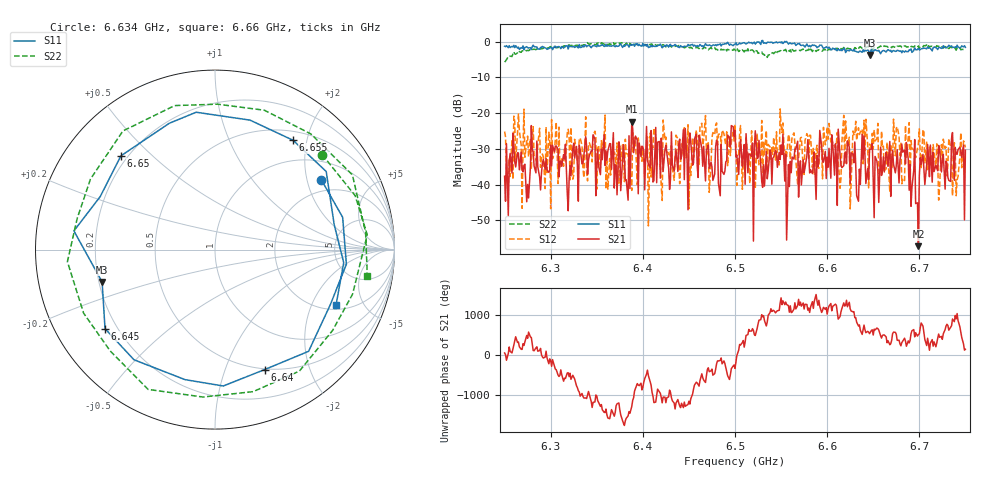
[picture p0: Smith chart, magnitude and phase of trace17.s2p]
# Hz S RI R 50
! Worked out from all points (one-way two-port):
!   401 points, 6.25 GHz to 6.75 GHz, reference 50 ohm
!   highest |S21| = -22.43 dB at 6.388 GHz (marker M1); lowest = -57.2 dB at 6.699 GHz (marker M2)
!   lowest |S11| = -3.7 dB at 6.646 GHz (marker M3), VSWR 4.79, Z = 10.6 - j6.72 ohm
!   |S11| at or under -10 dB: nowhere
!   |S22| runs from -5.7 to -0.1 dB; largest |S21 - S12| = 0.11
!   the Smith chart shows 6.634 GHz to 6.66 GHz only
!   S11 on the Smith chart (normalised r, x): 6.634 GHz: 1.56, +2.45; 6.64 GHz: 0.49, -1.38; 6.645 GHz: 0.15, -0.32; 6.65 GHz: 0.17, +0.40; 6.655 GHz: 0.64, +1.77; 6.66 GHz: 2.25, -3.07
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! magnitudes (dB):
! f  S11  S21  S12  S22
! 6.25 GHz  -1.2  -37.7  -25.1  -5.7
! 6.334 GHz  -1.5  -34.2  -29.1  -1.2
! 6.384 GHz  -1.0  -44.4  -31.5  -0.7
! 6.388 GHz  -1.0  -22.4  -41.6  -0.9
! 6.418 GHz  -1.0  -27.9  -34.1  -0.9
! 6.485 GHz  -1.2  -28.8  -28.8  -2.1
! 6.5 GHz  -0.7  -24.8  -23.2  -2.3
! 6.584 GHz  -0.9  -36.9  -35.2  -2.8
! 6.621 GHz  -2.6  -34.1  -26.8  -2.1
! 6.634 GHz  -3.0  -44.7  -24.1  -2.0
! 6.64 GHz  -2.8  -26.4  -22.0  -1.7
! 6.645 GHz  -2.4  -38.6  -40.9  -1.8
! 6.646 GHz  -3.7  -30.2  -28.7  -1.8
! 6.65 GHz  -2.6  -39.0  -30.0  -2.0
! 6.655 GHz  -2.5  -36.0  -22.9  -1.7
! 6.66 GHz  -2.6  -36.1  -29.6  -1.3
! 6.668 GHz  -2.6  -27.9  -42.1  -1.4
! 6.675 GHz  -2.7  -34.7  -24.2  -1.7
! 6.684 GHz  -2.9  -30.3  -38.9  -1.2
! 6.699 GHz  -1.8  -57.2  -28.5  -1.2
! 6.71 GHz  -1.8  -32.8  -31.6  -1.1
! 6.75 GHz  -1.6  -30.4  -29.6  -2.6
